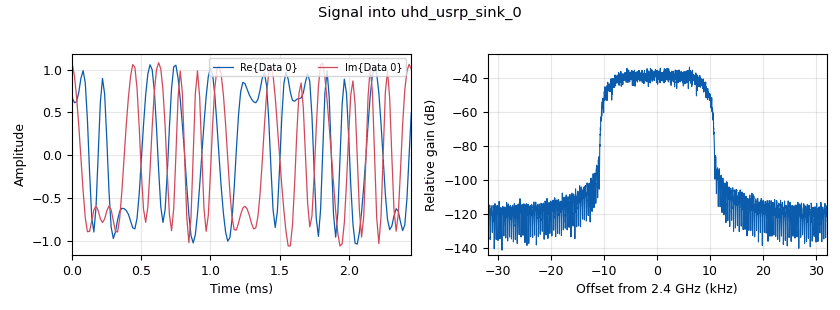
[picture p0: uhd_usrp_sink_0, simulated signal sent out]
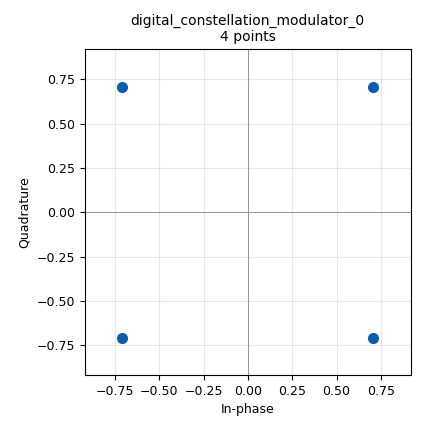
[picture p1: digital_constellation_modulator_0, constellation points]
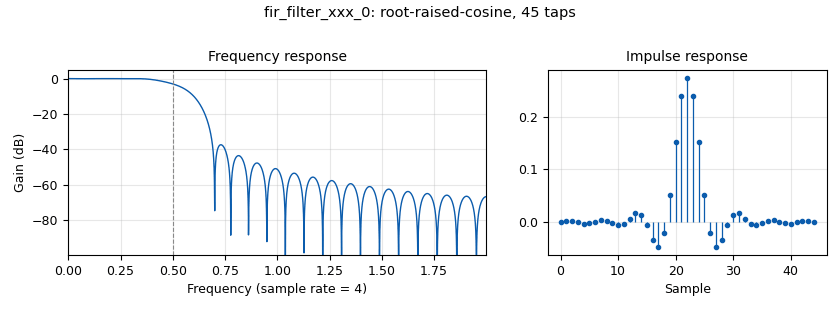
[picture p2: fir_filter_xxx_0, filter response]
options:
  parameters:
    author: Barry Duggan
    category: Custom
    generate_options: qt_gui
    id: qpsk_stage1
    output_language: python
    title: qpsk_stage1
  states: {}

blocks:
- name: excess_bw
  id: variable
  parameters:
    value: '0.35'
  states: {}
- name: qpsk
  id: variable_constellation_rect
  parameters:
    const_points: '[0.707+0.707j, -0.707+0.707j, -0.707-0.707j, 0.707-0.707j]'
    imag_sect: '2'
    real_sect: '2'
    rot_sym: '4'
    sym_map: '[0, 1, 2, 3]'
    w_imag_sect: '1'
    w_real_sect: '1'
  states: {}
- name: rrc_taps
  id: variable
  parameters:
    value: firdes.root_raised_cosine(1, sps, 1, excess_bw, 45)
  states: {}
- name: samp_rate
  id: variable
  parameters:
    value: '64000'
  states: {}
- name: sps
  id: variable
  parameters:
    value: '4'
  states: {}
- name: analog_random_source_x_0
  id: analog_random_source_x
  parameters:
    max: '256'
    min: '0'
    num_samps: '10000'
    repeat: 'True'
    type: byte
  states: {}
- name: blocks_throttle2_0
  id: blocks_throttle2
  parameters:
    samples_per_second: samp_rate
    type: complex
  states: {}
- name: digital_constellation_modulator_0
  id: digital_constellation_modulator
  parameters:
    constellation: qpsk
    differential: 'True'
    excess_bw: excess_bw
    samples_per_symbol: sps
  states: {}
- name: fir_filter_xxx_0
  id: fir_filter_xxx
  parameters:
    decim: '1'
    taps: rrc_taps
    type: ccc
  states: {}
- name: qtgui_const_sink_x_0
  id: qtgui_const_sink_x
  parameters:
    alpha1: '0.75'
    alpha2: '0.5'
    gui_hint: 0,1,1,1
    label1: TX
    label2: RX
    name: ''
    nconnections: '2'
    size: '1024'
    type: complex
  states: {}
- name: qtgui_freq_sink_x_0
  id: qtgui_freq_sink_x
  parameters:
    alpha1: '0.6'
    alpha2: '0.6'
    bw: samp_rate
    fc: '0'
    fftsize: '1024'
    gui_hint: 1,0,1,2
    label1: TX
    label2: RX
    name: ''
    nconnections: '2'
    showports: 'True'
    type: complex
    width1: '2'
    width2: '2'
    ymax: '0'
    ymin: '-150'
  states: {}
- name: qtgui_time_sink_x_0
  id: qtgui_time_sink_x
  parameters:
    alpha1: '0.5'
    alpha2: '0.5'
    alpha3: '0.5'
    alpha4: '0.5'
    gui_hint: 0,0,1,1
    label1: Re{TX}
    label2: Im{TX}
    label3: Re{RX}
    label4: Im{RX}
    name: ''
    nconnections: '2'
    size: '200'
    srate: samp_rate
    type: complex
    ymax: '2'
    ymin: '-2'
  states: {}
- name: uhd_usrp_sink_0
  id: uhd_usrp_sink
  parameters:
    ant0: '"TX/RX"'
    center_freq0: '2400000000'
    gain0: '60'
    samp_rate: samp_rate
    sync: none
    type: fc32
  states: {}
- name: uhd_usrp_source_0
  id: uhd_usrp_source
  parameters:
    ant0: '"RX2"'
    center_freq0: '2400000000'
    rx_agc0: Enabled
    samp_rate: samp_rate
    sync: sync
    type: fc32
  states: {}

connections:
- [analog_random_source_x_0, '0', digital_constellation_modulator_0, '0']
- [blocks_throttle2_0, '0', fir_filter_xxx_0, '0']
- [blocks_throttle2_0, '0', qtgui_const_sink_x_0, '0']
- [blocks_throttle2_0, '0', qtgui_freq_sink_x_0, '0']
- [blocks_throttle2_0, '0', qtgui_time_sink_x_0, '0']
- [digital_constellation_modulator_0, '0', uhd_usrp_sink_0, '0']
- [fir_filter_xxx_0, '0', qtgui_const_sink_x_0, '1']
- [fir_filter_xxx_0, '0', qtgui_freq_sink_x_0, '1']
- [fir_filter_xxx_0, '0', qtgui_time_sink_x_0, '1']
- [uhd_usrp_source_0, '0', blocks_throttle2_0, '0']

metadata:
  file_format: 1
  grc_version: 3.10.9.2
